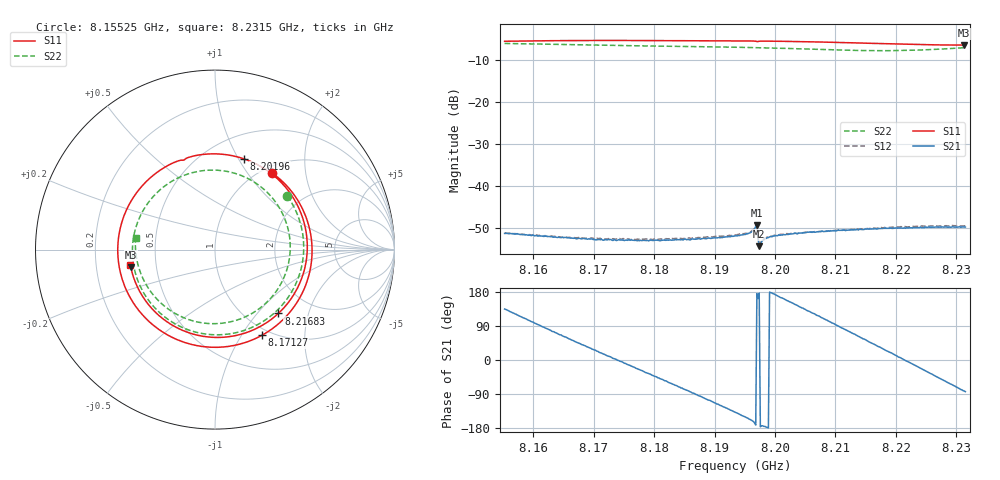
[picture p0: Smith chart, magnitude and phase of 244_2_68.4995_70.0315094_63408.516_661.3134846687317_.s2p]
#  HZ  S  RI  R  50.00
! Rohde & Schwarz Vector Network Analyzer
! Rohde-Schwarz,ZNB20-2Port,1311601062101988,3.16
! Created: UTC 3/20/2024, 4:59:34 PM
! freq[Hz]  re:S11  im:S11  re:S21  im:S21  re:S12  im:S12  re:S22  im:S22
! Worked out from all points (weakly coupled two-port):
!   401 points, 8.15525 GHz to 8.2315 GHz, reference 50 ohm
!   highest |S21| = -49.37 dB at 8.197 GHz (marker M1); lowest = -54.3 dB at 8.19738 GHz (marker M2)
!   lowest |S11| = -6.4 dB at 8.23131 GHz (marker M3), VSWR 2.84, Z = 17.8 - j4.47 ohm
!   |S11| at or under -10 dB: nowhere
!   |S22| runs from -7.7 to -6.0 dB; largest |S21 - S12| = 0.00024
!   S11 on the Smith chart (normalised r, x): 8.15525 GHz: 1.11, +1.32; 8.17127 GHz: 0.91, -1.24; 8.20196 GHz: 0.75, +1.05; 8.21683 GHz: 1.37, -1.30; 8.2315 GHz: 0.35, -0.08
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8.155253e9  0.3194 0.4264  -0.00191 0.00194  -0.0019 0.00202  0.4027 0.2991
8.161734e9  0.5364 0.0631  0.000143 0.0025  0.000165 0.00252  0.4859 -0.0783
8.168025e9  0.4281 -0.3351  0.00178 0.00152  0.00183 0.00158  0.2905 -0.385
8.171265e9  0.2623 -0.477  0.00221 0.000733  0.00222 0.00072  0.1202 -0.4622
8.176031e9  -0.0516 -0.5419  0.00218 -0.000561  0.0022 -0.0006  -0.1484 -0.4474
8.180797e9  -0.3497 -0.4165  0.00152 -0.00165  0.00156 -0.00173  -0.3632 -0.2918
8.187087e9  -0.5409 -0.036  -6.32e-05 -0.00233  -0.000161 -0.0024  -0.4581 0.0373
8.193378e9  -0.3947 0.3671  -0.00188 -0.00172  -0.00199 -0.00168  -0.2989 0.3392
8.196619e9  -0.2048 0.4944  -0.00301 -0.000743  -0.00309 -0.000656  -0.14 0.4248
8.197e9  -0.1774 0.4982  -0.00339 0.000288  -0.00346 0.000433  -0.1191 0.4303
8.197381e9  -0.1613 0.5079  -0.00191 0.000116  -0.00191 0.000218  -0.0984 0.4348
8.197763e9  -0.1342 0.5177  -0.00214 -0.000233  -0.0022 -0.000144  -0.0771 0.4386
8.201956e9  0.1596 0.5062  -0.00245 0.00104  -0.00246 0.00113  0.1569 0.4083
8.20615e9  0.4002 0.3386  -0.00157 0.00232  -0.00155 0.00238  0.3434 0.2564
8.211488e9  0.5133 -0.0163  0.000455 0.00294  0.000513 0.00295  0.4147 -0.0486
8.216825e9  0.3532 -0.3554  0.00243 0.00187  0.00252 0.00186  0.2466 -0.3291
8.218922e9  0.2283 -0.4406  0.00293 0.00111  0.00303 0.00107  0.1261 -0.3914
8.221782e9  0.0282 -0.4892  0.0032 -0.000169  0.00325 -0.000267  -0.0612 -0.4095
8.224641e9  -0.1741 -0.4526  0.00285 -0.00142  0.00293 -0.0016  -0.242 -0.3438
8.228073e9  -0.3711 -0.3059  0.00185 -0.00266  0.00179 -0.00282  -0.3979 -0.1685
8.231313e9  -0.4694 -0.0969  0.000464 -0.00322  0.000257 -0.00335  -0.4432 0.0519
8.231504e9  -0.472 -0.0833  0.000364 -0.00322  0.00017 -0.00335  -0.4422 0.0652
